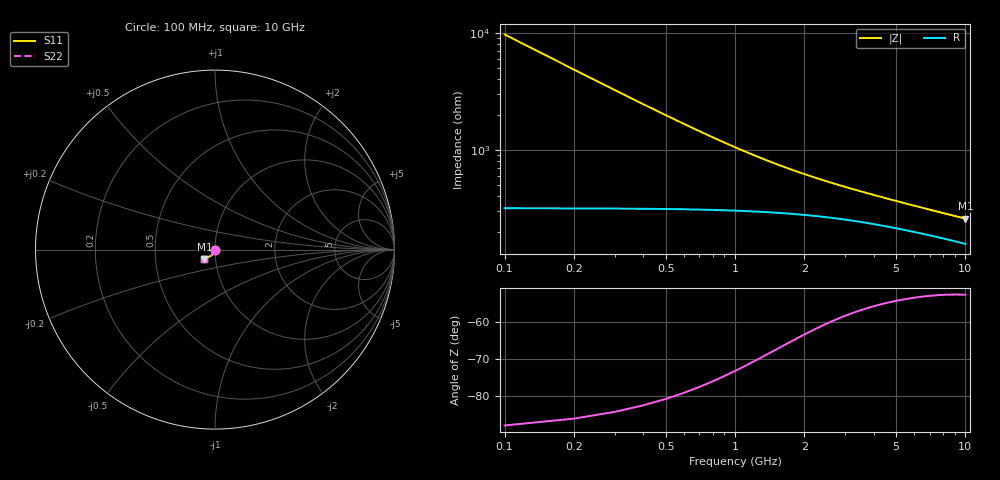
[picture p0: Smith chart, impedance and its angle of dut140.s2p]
! Touchstone file exported from HFSS 2024.1.0
!  File:  C:/UserFiles/LocalFiles/RDL_TSV_Batchsim/temp_TSV1_140_1778754551.aedt
!  Generated:  06:33:32 PM May 14, 2026
!  Design:  TSV1
!  Project:  temp_TSV1_140_1778754551
!  Setup:  Setup1
!  Solution:  Sweep
! Variables:
!  dtsv = 23.83um
!  hbump = 3um
!  htsv = 56.62um
!  lrdl = 252.1521522um
!  p = 40
!  p1 = 54.86um
!  t = 500um
!  trdl = 3um
!  wrdl = 24.89489489um
# GHz S MA R 50.000000
! Terminal data exported
! Port[1] = TSV22_T1
! Port[2] = TSV22_T2
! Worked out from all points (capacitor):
!   100 points, 100 MHz to 10 GHz, reference 50 ohm
!   read as one part in shunt: C = 164 fF near 100 MHz
!   lowest |Z| = 259 ohm at 10 GHz (marker M1)
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0.1  0.002363 -90.5  0.9998 -0.2  0.9998 -0.2  0.002363 -90.5
! Gamma 0 0 0 0
! Port Impedance 50 0 50 0
0.2  0.004712 -93.3  0.9996 -0.3  0.9996 -0.3  0.004712 -93.3
0.3  0.007034 -95.6  0.9991 -0.5  0.9991 -0.5  0.007034 -95.6
0.4  0.009319 -97.7  0.9985 -0.6  0.9985 -0.6  0.009319 -97.7
0.5  0.01155 -99.7  0.9978 -0.8  0.9978 -0.8  0.01155 -99.7
0.6  0.01373 -101.7  0.9969 -0.9  0.9969 -0.9  0.01373 -101.7
0.7  0.01584 -103.5  0.9959 -1.0  0.9959 -1.0  0.01584 -103.5
0.8  0.01787 -105.3  0.9949 -1.2  0.9949 -1.2  0.01787 -105.3
0.9  0.01983 -107.0  0.9938 -1.3  0.9938 -1.3  0.01983 -107.0
1.1  0.02351 -110.1  0.9915 -1.5  0.9915 -1.5  0.02351 -110.1
1.4  0.02843 -114.2  0.988 -1.8  0.988 -1.8  0.02843 -114.2
1.6  0.03134 -116.6  0.9857 -1.9  0.9857 -1.9  0.03134 -116.6
1.8  0.03399 -118.7  0.9835 -2.1  0.9835 -2.1  0.03399 -118.7
2.1  0.03754 -121.4  0.9804 -2.3  0.9804 -2.3  0.03754 -121.4
2.5  0.04163 -124.3  0.9766 -2.5  0.9766 -2.5  0.04163 -124.3
2.9  0.04519 -126.5  0.9732 -2.7  0.9732 -2.7  0.04519 -126.5
3.4  0.04909 -128.7  0.9695 -2.9  0.9695 -2.9  0.04909 -128.7
4.2  0.05445 -131.3  0.9644 -3.2  0.9644 -3.2  0.05445 -131.3
5.1  0.05963 -133.3  0.9596 -3.6  0.9596 -3.6  0.05963 -133.3
6.7  0.06729 -135.7  0.9526 -4.1  0.9526 -4.1  0.06729 -135.7
8.4  0.07396 -137.4  0.9467 -4.6  0.9467 -4.6  0.07396 -137.4
10  0.07929 -138.4  0.9421 -5.1  0.9421 -5.1  0.07929 -138.4
